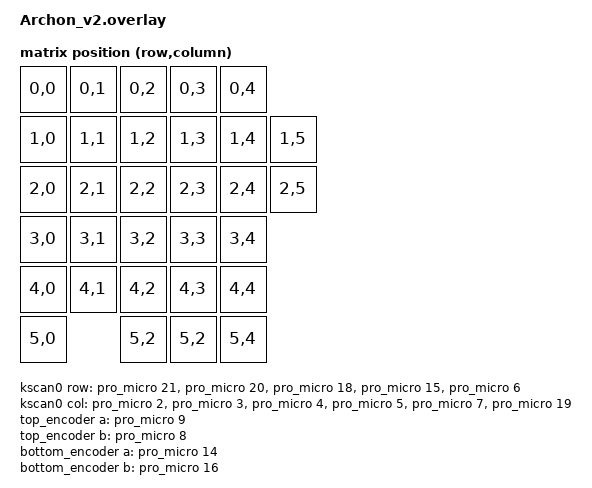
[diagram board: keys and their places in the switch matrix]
#include <dt-bindings/zmk/matrix_transform.h>

/ {
	chosen {
		zephyr,display = &oled;
		zmk,kscan = &kscan0;
		zmk,matrix-transform = &default_transform;
	};

	kscan0: kscan {
		compatible = "zmk,kscan-gpio-matrix";
		diode-direction = "col2row";
		wakeup-source;

		col-gpios = 
				<&pro_micro  2 GPIO_ACTIVE_HIGH>,
			    <&pro_micro  3 GPIO_ACTIVE_HIGH>,
			    <&pro_micro  4 GPIO_ACTIVE_HIGH>,
			    <&pro_micro  5 GPIO_ACTIVE_HIGH>,
			    <&pro_micro  7 GPIO_ACTIVE_HIGH>,
			    <&pro_micro 19 GPIO_ACTIVE_HIGH>;

		row-gpios = 
				<&pro_micro 21 (GPIO_ACTIVE_HIGH | GPIO_PULL_DOWN)>,
			    <&pro_micro 20 (GPIO_ACTIVE_HIGH | GPIO_PULL_DOWN)>,
			    <&pro_micro 18 (GPIO_ACTIVE_HIGH | GPIO_PULL_DOWN)>,
			    <&pro_micro 15 (GPIO_ACTIVE_HIGH | GPIO_PULL_DOWN)>,
			    <&pro_micro  6 (GPIO_ACTIVE_HIGH | GPIO_PULL_DOWN)>;
	};

	default_transform: keymap_transform0 {
        compatible = "zmk,matrix-transform";
        columns = <6>; 
        rows = <5>;

        //|A|B|C|D|E|
        //|F|G|H|I|J|K|
        //|L|M|N|O|P|Q|
        //|R|S|T|U|V|
        //|W  |X|Y|Z|


        map = <
            RC(0,0) RC(0,1) RC(0,2) RC(0,3) RC(0,4) 
            RC(1,0) RC(1,1) RC(1,2) RC(1,3) RC(1,4) RC(1,5)
            RC(2,0) RC(2,1) RC(2,2) RC(2,3) RC(2,4) RC(2,5)
            RC(3,0) RC(3,1) RC(3,2) RC(3,3) RC(3,4) 
            RC(4,0) RC(4,1) RC(4,2) RC(4,3) RC(4,4) 
            RC(5,0)         RC(5,2) RC(5,2) RC(5,4) 
        >;
	};

	    top_encoder: encoder_top {
        compatible = "alps,ec11";
        a-gpios = <&pro_micro 9 (GPIO_ACTIVE_LOW | GPIO_PULL_UP)>;
        b-gpios = <&pro_micro 8 (GPIO_ACTIVE_LOW | GPIO_PULL_UP)>;
        steps = <80>;
        status = "okay";
    };

    bottom_encoder: encoder_bottom {
        compatible = "alps,ec11";
        a-gpios = <&pro_micro 14 (GPIO_ACTIVE_LOW | GPIO_PULL_UP)>;
        b-gpios = <&pro_micro 16 (GPIO_ACTIVE_LOW | GPIO_PULL_UP)>;
        steps = <80>;
        status = "okay";
    };

    sensors: sensors {
        compatible = "zmk,keymap-sensors";
        sensors = <&top_encoder &bottom_encoder>;
        triggers-per-rotation = <20>;
    };

};

&pro_micro_i2c {
    status = "okay";

    oled: ssd1306@3c {
        compatible = "solomon,ssd1306fb";
        reg = <0x3c>;
        width = <128>;
        height = <32>;
        segment-offset = <0>;
        page-offset = <0>;
        display-offset = <0>;
        multiplex-ratio = <31>;
        segment-remap;
        com-invdir;
        com-sequential;
        inversion-on;
        prechargep = <0x22>;
    };
};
